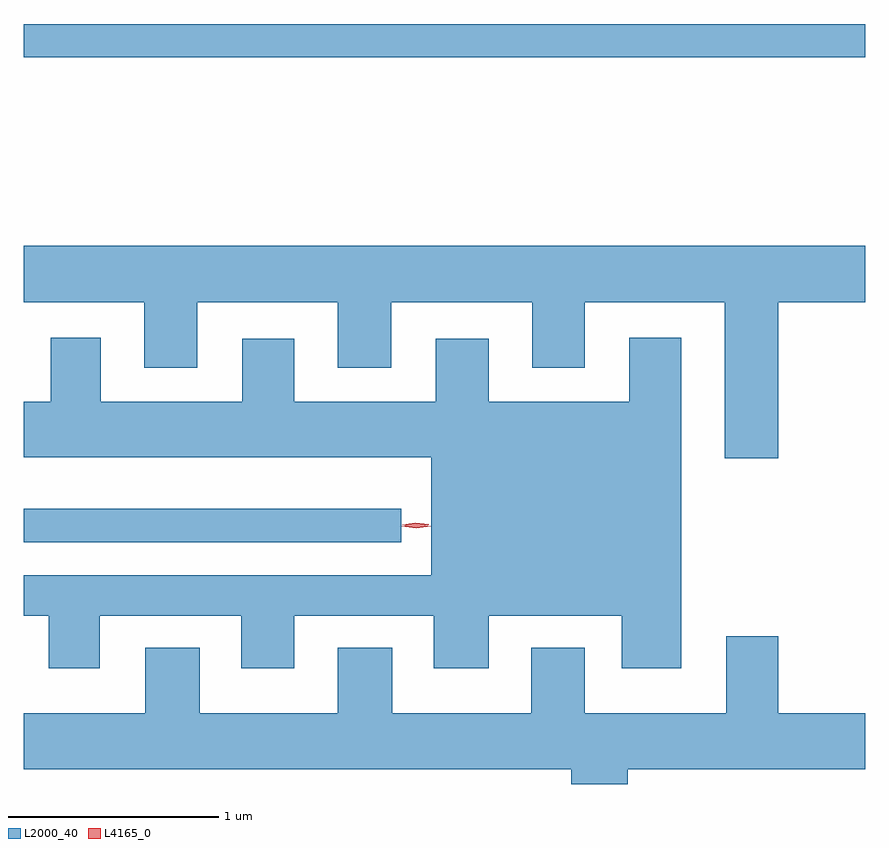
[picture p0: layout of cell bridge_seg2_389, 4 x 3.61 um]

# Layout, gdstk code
import gdstk
lib = gdstk.Library(unit=1e-6, precision=1e-09)
def R(c, l, rs):  # rectangles x0, y0, x1, y1
    for r in rs: c.add(gdstk.rectangle(r[:2], r[2:], *l))
def P(c, l, *ps):  # polygons
    for p in ps: c.add(gdstk.Polygon(p, *l))
L2000_40 = (2000, 40)
L4165_0 = (4165, 0)

bridge_seg2_389 = lib.new_cell('bridge_seg2_389')
R(bridge_seg2_389, L2000_40, [(596.533,1042.736,598.328,1042.894), (596.533,1045.041,600.533,1045.199)])
P(bridge_seg2_389, L2000_40, [(600.119,1043.876),(600.533,1043.876),(600.533,1044.144),(596.533,1044.144),(596.533,1043.876),(597.106,1043.876),(597.106,1043.566),(597.359,1043.566),(597.359,1043.876),(598.026,1043.876),(598.026,1043.566),(598.279,1043.566),(598.279,1043.876),(598.951,1043.876),(598.951,1043.566),(599.199,1043.566),(599.199,1043.876),(599.866,1043.876),(599.866,1043.136),(600.119,1043.136)],
  [(596.894,1042.386),(597.566,1042.386),(597.566,1042.136),(597.819,1042.136),(597.819,1042.386),(598.481,1042.386),(598.481,1042.136),(598.744,1042.136),(598.744,1042.386),(599.376,1042.386),(599.376,1042.136),(599.659,1042.136),(599.659,1043.709),(599.411,1043.709),(599.411,1043.404),(598.744,1043.404),(598.744,1043.704),(598.491,1043.704),(598.491,1043.404),(597.819,1043.404),(597.819,1043.704),(597.571,1043.704),(597.571,1043.404),(596.899,1043.404),(596.899,1043.709),(596.661,1043.709),(596.661,1043.404),(596.533,1043.404),(596.533,1043.141),(598.471,1043.141),(598.471,1042.579),(596.533,1042.579),(596.533,1042.386),(596.651,1042.386),(596.651,1042.136),(596.894,1042.136)],
  [(599.404,1041.656),(600.533,1041.656),(600.533,1041.924),(600.119,1041.924),(600.119,1042.289),(599.871,1042.289),(599.871,1041.924),(599.199,1041.924),(599.199,1042.234),(598.946,1042.234),(598.946,1041.924),(598.284,1041.924),(598.284,1042.234),(598.026,1042.234),(598.026,1041.924),(597.369,1041.924),(597.369,1042.234),(597.111,1042.234),(597.111,1041.924),(596.533,1041.924),(596.533,1041.656),(599.136,1041.656),(599.136,1041.587),(599.404,1041.587)])
P(bridge_seg2_389, L4165_0, [(598.395,1042.81),(598.333,1042.818),(598.333,1042.818),(598.333,1042.819),(598.395,1042.829),(598.457,1042.821),(598.458,1042.82),(598.457,1042.82)],
  [(598.399,1042.803),(598.33,1042.812),(598.33,1042.813),(598.33,1042.813),(598.399,1042.823),(598.467,1042.813),(598.468,1042.813),(598.467,1042.812)])

lib.write_gds('bridge_seg2_389.gds')
